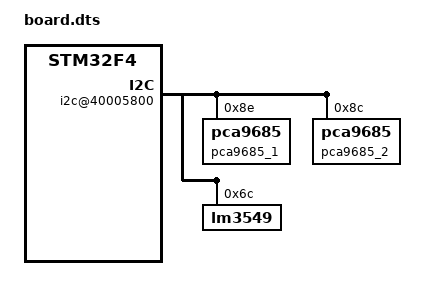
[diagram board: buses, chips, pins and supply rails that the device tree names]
/dts-v1/;

#include "../stm32f4_common.dtsi"

/ {

    board-name = "gpa_tx2_carrier";
    #address-cells = <1>;
    #size-cells = <0>;

    i2c@40005800 {
        reg = < 0x40005800 >;
        #address-cells = <1>;
        #size-cells = <0>;

        pca9685_1: pca9685@8e {
            compatible = "";
            reg = < 0x8e >;
            freq = < 50 >;
            width = <
                0 0 0 0 0 0 0 0 //IO0-IO7
                0 0 0 0 0 0 0 0 //IO8-IO15
            >;
        };
        pca9685_2: pca9685@8c {
            reg = < 0x8c >;
            freq = < 52 >;
            width = <
                0 0 0 0 0 0 0 0 //IO0-IO7
                0 0 0 0 0 0 0 0 //IO8-IO15
            >;
        };
        lm3549@6c {
            reg = < 0x6c >;
        };
    };
};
